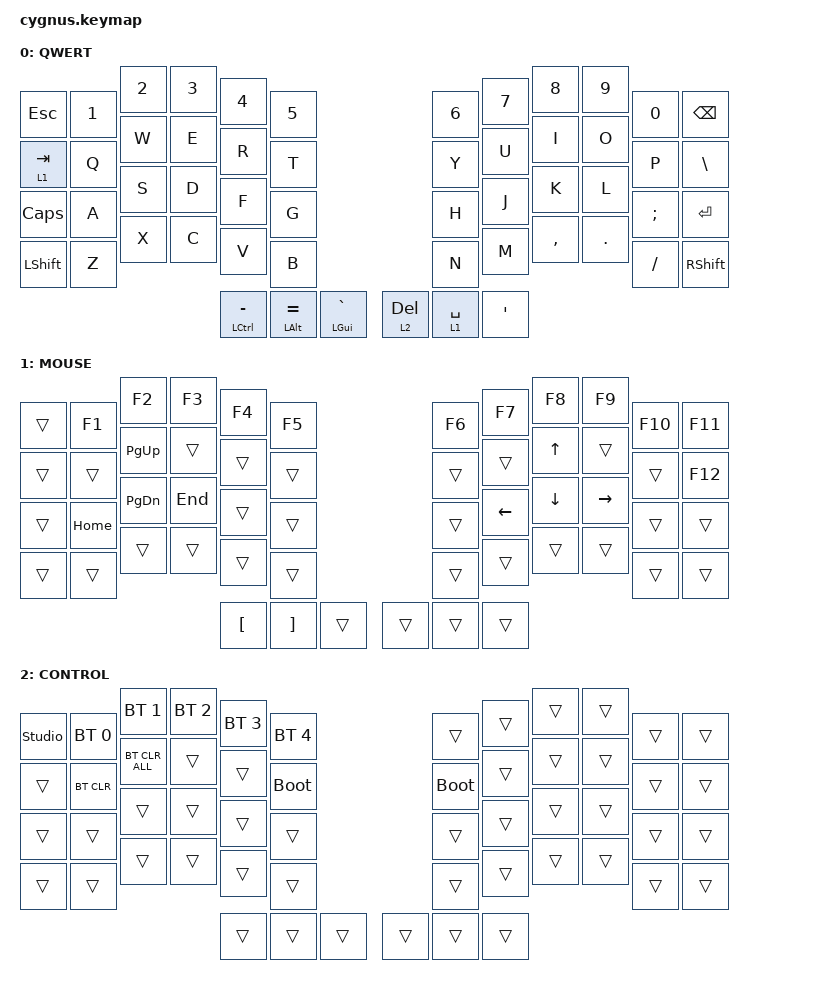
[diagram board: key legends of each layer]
#include <behaviors/mouse_keys.dtsi>
#include <dt-bindings/zmk/mouse.h>
#include <behaviors.dtsi>
#include <dt-bindings/zmk/bt.h>
#include <dt-bindings/zmk/keys.h>

#define ZMK_MOUSE_DEFAULT_MOVE_VAL 1200  // 600
#define ZMK_MOUSE_DEFAULT_SCRL_VAL 20    // 10
#define U_MS_U &mmv MOVE_UP
#define U_MS_D &mmv MOVE_DOWN
#define U_MS_L &mmv MOVE_LEFT
#define U_MS_R &mmv MOVE_RIGHT
#define ZMK_MOUSE_DEFAULT_MOVE_VAL 1200  //  600
#define ZMK_MOUSE_DEFAULT_SCRL_VAL 20    // 10

&lt {
    flavor = "tap-preferred";
    quick-tap-ms = <180>;
};

/ {
    keymap {
        compatible = "zmk,keymap";

        LAYER0 {
            bindings = <
&kp ESC     &kp N1  &kp N2  &kp N3           &kp N4          &kp N5          &kp N6     &kp N7       &kp N8     &kp N9   &kp N0    &kp BACKSPACE
&lt 1 TAB   &kp Q   &kp W   &kp E            &kp R           &kp T           &kp Y      &kp U        &kp I      &kp O    &kp P     &kp BSLH
&kp CAPS    &kp A   &kp S   &kp D            &kp F           &kp G           &kp H      &kp J        &kp K      &kp L    &kp SEMI  &kp ENTER
&kp LSHIFT  &kp Z   &kp X   &kp C            &kp V           &kp B           &kp N      &kp M        &kp COMMA  &kp DOT  &kp FSLH  &kp RSHIFT
                            &mt LCTRL MINUS  &mt LALT EQUAL  &mt LGUI GRAVE  &lt 2 DEL  &lt 1 SPACE  &kp SQT
            >;

            display-name = "QWERT";
        };

        layer_1 {
            bindings = <
&trans  &kp F1    &kp F2     &kp F3    &kp F4    &kp F5  &kp F6  &kp F7    &kp F8    &kp F9     &kp F10  &kp F11
&trans  &trans    &kp PG_UP  &trans    &trans    &trans  &trans  &trans    &kp UP    &trans     &trans   &kp F12
&trans  &kp HOME  &kp PG_DN  &kp END   &trans    &trans  &trans  &kp LEFT  &kp DOWN  &kp RIGHT  &trans   &trans
&trans  &trans    &trans     &trans    &trans    &trans  &trans  &trans    &trans    &trans     &trans   &trans
                             &kp LBKT  &kp RBKT  &trans  &trans  &trans    &trans
            >;

            display-name = "MOUSE";
        };

        layer_2 {
            display-name = "CONTROL";
            bindings = <
&studio_unlock  &bt BT_SEL 0  &bt BT_SEL 1    &bt BT_SEL 2  &bt BT_SEL 3  &bt BT_SEL 4  &trans       &trans  &trans  &trans  &trans  &trans
&trans          &bt BT_CLR    &bt BT_CLR_ALL  &trans        &trans        &bootloader   &bootloader  &trans  &trans  &trans  &trans  &trans
&trans          &trans        &trans          &trans        &trans        &trans        &trans       &trans  &trans  &trans  &trans  &trans
&trans          &trans        &trans          &trans        &trans        &trans        &trans       &trans  &trans  &trans  &trans  &trans
                                              &trans        &trans        &trans        &trans       &trans  &trans
            >;
        };
    };
};
